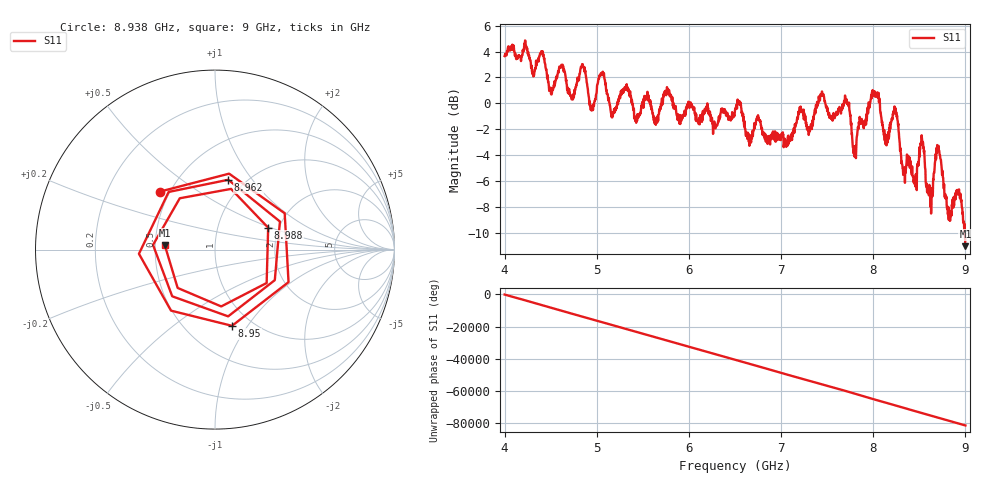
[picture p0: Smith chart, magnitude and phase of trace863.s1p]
! Created with skrf 1.8.0 (http://scikit-rf.org).
# Hz S RI R 50.0
!freq ReS11 ImS11
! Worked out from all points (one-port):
!   1601 points, 4 GHz to 9 GHz, reference 50 ohm
!   lowest |S11| = -11.0 dB at 9 GHz (marker M1), VSWR 1.78, Z = 28.1 + j1.57 ohm
!   |S11| at or under -10 dB: 8.994337 GHz to end of sweep
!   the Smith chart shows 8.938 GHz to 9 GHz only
!   S11 on the Smith chart (normalised r, x): 8.938 GHz: 0.44, +0.36; 8.95 GHz: 0.81, -0.85; 8.962 GHz: 0.84, +0.77; 8.988 GHz: 1.76, +0.48; 9 GHz: 0.56, +0.03
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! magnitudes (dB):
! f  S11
! 4 GHz  3.7
! 4.406 GHz  3.9
! 4.506 GHz  0.7
! 4.625 GHz  2.8
! 4.728 GHz  0.3
! 4.853 GHz  2.9
! 4.944 GHz  -0.2
! 5.053 GHz  2.4
! 5.166 GHz  -0.9
! 5.25 GHz  0.6
! 5.875 GHz  -1.0
! 6.5 GHz  -0.5
! 7.125 GHz  -2.5
! 7.434 GHz  0.6
! 7.75 GHz  -1.0
! 7.8 GHz  -3.3
! 8.034 GHz  0.7
! 8.375 GHz  -4.6
! 8.45 GHz  -6.0
! 8.531 GHz  -2.8
! 8.622 GHz  -7.2
! 8.709 GHz  -3.3
! 8.825 GHz  -9.0
! 8.938 GHz  -7.0
! 8.95 GHz  -7.2
! 8.962 GHz  -8.0
! 8.988 GHz  -9.9
! 9 GHz  -11.0
